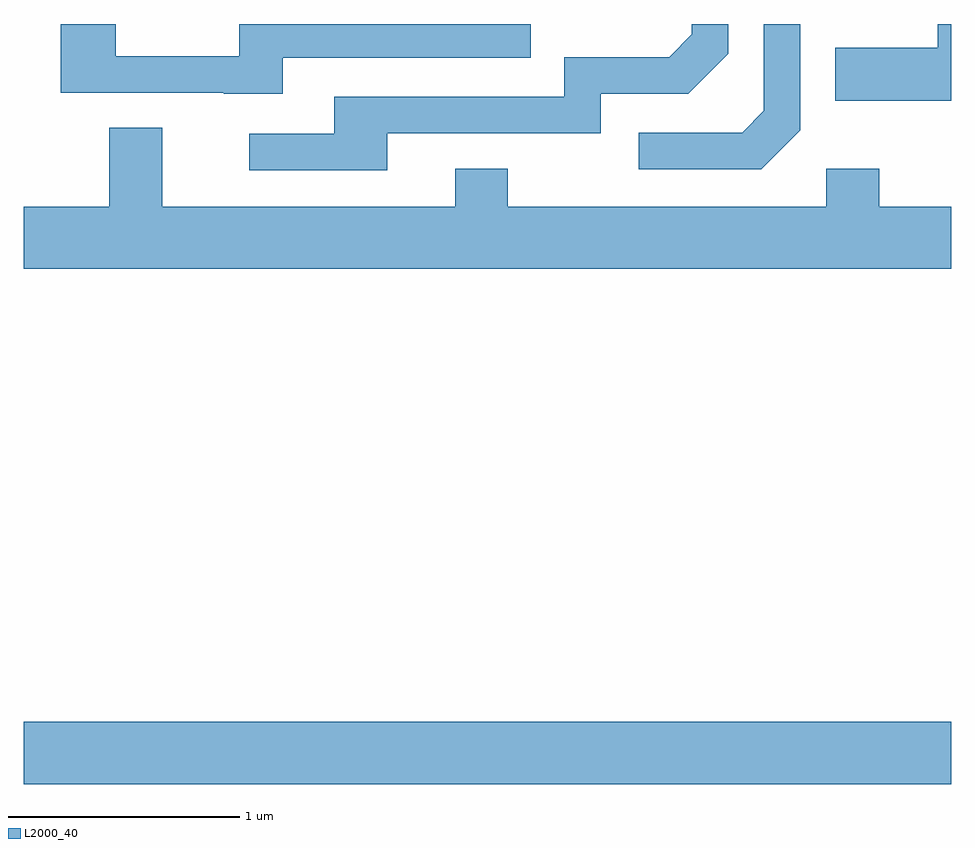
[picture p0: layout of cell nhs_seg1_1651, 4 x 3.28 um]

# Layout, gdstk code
import gdstk
lib = gdstk.Library(unit=1e-6, precision=1e-09)
def R(c, l, rs):  # rectangles x0, y0, x1, y1
    for r in rs: c.add(gdstk.rectangle(r[:2], r[2:], *l))
def P(c, l, *ps):  # polygons
    for p in ps: c.add(gdstk.Polygon(p, *l))
L2000_40 = (2000, 40)

nhs_seg1_1651 = lib.new_cell('nhs_seg1_1651')
R(nhs_seg1_1651, L2000_40, [(235.611,928.436,239.611,928.704)])
P(nhs_seg1_1651, L2000_40, [(239.611,931.712),(239.551,931.712),(239.551,931.609),(239.111,931.609),(239.111,931.381),(239.611,931.381)],
  [(236.729,931.566),(237.798,931.566),(237.798,931.712),(236.541,931.712),(236.541,931.574),(236.009,931.574),(236.009,931.712),(235.771,931.712),(235.771,931.416),(236.475,931.416),(236.475,931.411),(236.729,931.411)],
  [(237.179,931.241),(238.099,931.241),(238.099,931.411),(238.477,931.411),(238.649,931.584),(238.649,931.712),(238.491,931.712),(238.491,931.667),(238.394,931.569),(237.941,931.569),(237.941,931.399),(236.951,931.399),(236.951,931.239),(236.583,931.239),(236.583,931.081),(237.179,931.081)],
  [(238.959,931.254),(238.959,931.712),(238.801,931.712),(238.801,931.337),(238.709,931.244),(238.263,931.244),(238.263,931.086),(238.792,931.086)],
  [(239.611,930.924),(239.299,930.924),(239.299,931.089),(239.071,931.089),(239.071,930.924),(237.699,930.924),(237.699,931.089),(237.471,931.089),(237.471,930.924),(236.209,930.924),(236.209,931.264),(235.981,931.264),(235.981,930.924),(235.611,930.924),(235.611,930.656),(239.611,930.656)])

lib.write_gds('nhs_seg1_1651.gds')
